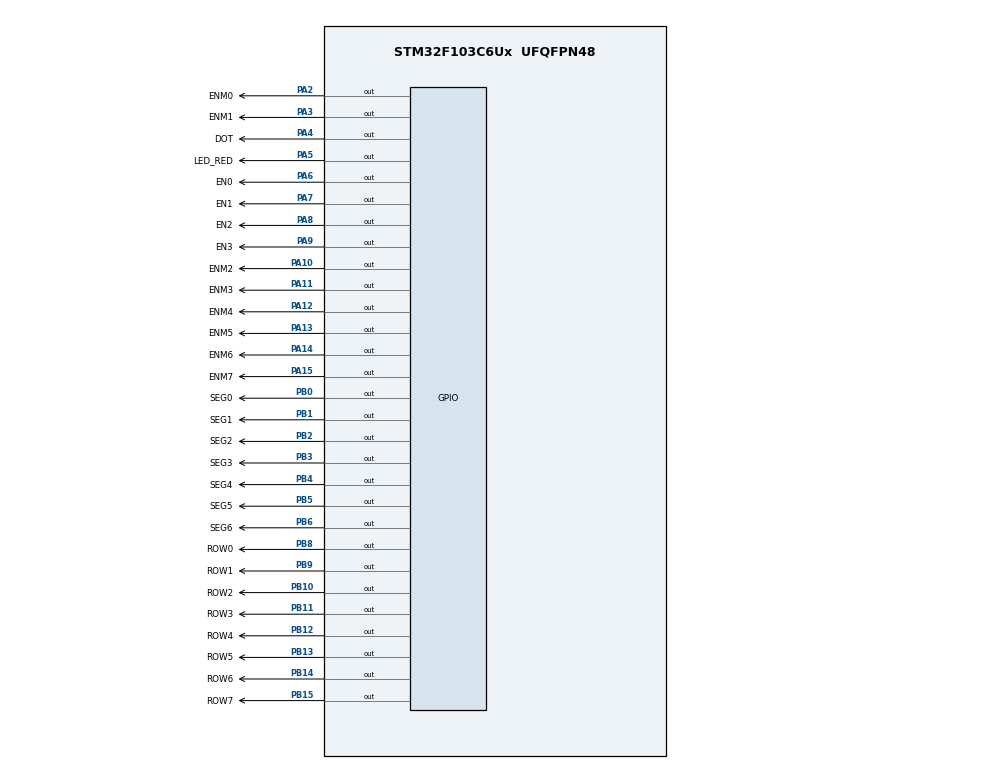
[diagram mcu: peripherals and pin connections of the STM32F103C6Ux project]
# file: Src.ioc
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Mcu.Family=STM32F1
Mcu.Name=STM32F103C6Ux
Mcu.Package=UFQFPN48
NVIC.PriorityGroup=NVIC_PRIORITYGROUP_4
NVIC.TIM2_IRQn=true\:0\:0\:false\:false\:true\:true\:true
PA10.GPIO_Label=ENM2
PA10.Signal=GPIO_Output
PA11.GPIO_Label=ENM3
PA11.Signal=GPIO_Output
PA12.GPIO_Label=ENM4
PA12.Signal=GPIO_Output
PA13.GPIO_Label=ENM5
PA13.Signal=GPIO_Output
PA14.GPIO_Label=ENM6
PA14.Signal=GPIO_Output
PA15.GPIO_Label=ENM7
PA15.Signal=GPIO_Output
PA2.GPIO_Label=ENM0
PA2.Signal=GPIO_Output
PA3.GPIO_Label=ENM1
PA3.Signal=GPIO_Output
PA4.GPIO_Label=DOT
PA4.Signal=GPIO_Output
PA5.GPIO_Label=LED_RED
PA5.Signal=GPIO_Output
PA6.GPIO_Label=EN0
PA6.Signal=GPIO_Output
PA7.GPIO_Label=EN1
PA7.Signal=GPIO_Output
PA8.GPIO_Label=EN2
PA8.Signal=GPIO_Output
PA9.GPIO_Label=EN3
PA9.Signal=GPIO_Output
PB0.GPIO_Label=SEG0
PB0.Signal=GPIO_Output
PB1.GPIO_Label=SEG1
PB1.Signal=GPIO_Output
PB10.GPIO_Label=ROW2
PB10.Signal=GPIO_Output
PB11.GPIO_Label=ROW3
PB11.Signal=GPIO_Output
PB12.GPIO_Label=ROW4
PB12.Signal=GPIO_Output
PB13.GPIO_Label=ROW5
PB13.Signal=GPIO_Output
PB14.GPIO_Label=ROW6
PB14.Signal=GPIO_Output
PB15.GPIO_Label=ROW7
PB15.Signal=GPIO_Output
PB2.GPIO_Label=SEG2
PB2.Signal=GPIO_Output
PB3.GPIO_Label=SEG3
PB3.Signal=GPIO_Output
PB4.GPIO_Label=SEG4
PB4.Signal=GPIO_Output
PB5.GPIO_Label=SEG5
PB5.Signal=GPIO_Output
PB6.GPIO_Label=SEG6
PB6.Signal=GPIO_Output
PB8.GPIO_Label=ROW0
PB8.Signal=GPIO_Output
PB9.GPIO_Label=ROW1
PB9.Signal=GPIO_Output
ProjectManager.HeapSize=0x200
ProjectManager.StackSize=0x400
ProjectManager.TargetToolchain=STM32CubeIDE
RCC.APB1Freq_Value=8000000
RCC.APB2Freq_Value=8000000
TIM2.Period=9
TIM2.Prescaler=7999
VP_SYS_VS_ND.Mode=No_Debug
VP_TIM2_VS_ClockSourceINT.Mode=Internal
board=custom

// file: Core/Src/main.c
/* USER CODE BEGIN Header */
/**
  ******************************************************************************
  * @file           : main.c
  * @brief          : Main program body
  ******************************************************************************
  * @attention
  *
  * <h2><center>&copy; Copyright (c) 2023 STMicroelectronics.
  * All rights reserved.</center></h2>
  *
  * This software component is licensed by ST under BSD 3-Clause license,
  * the "License"; You may not use this file except in compliance with the
  * License. You may obtain a copy of the License at:
  *                        opensource.org/licenses/BSD-3-Clause
  *
  ******************************************************************************
  */
/* USER CODE END Header */
#include "main.h"

/* USER CODE BEGIN Includes */
#include "software_timer.h"
/* USER CODE END Includes */

TIM_HandleTypeDef htim2;

void SystemClock_Config(void);
static void MX_GPIO_Init(void);
static void MX_TIM2_Init(void);

/* USER CODE BEGIN 0 */
void display7SEG(int num){
	  switch(num){
			case 0:
				  HAL_GPIO_WritePin(GPIOB, SEG0_Pin, RESET);
				  HAL_GPIO_WritePin(GPIOB, SEG1_Pin, RESET);
				  HAL_GPIO_WritePin(GPIOB, SEG2_Pin, RESET);
				  HAL_GPIO_WritePin(GPIOB, SEG3_Pin, RESET);
				  HAL_GPIO_WritePin(GPIOB, SEG4_Pin, RESET);
				  HAL_GPIO_WritePin(GPIOB, SEG5_Pin, RESET);
				  HAL_GPIO_WritePin(GPIOB, SEG6_Pin, SET);
				  break;
			case 1:
				  HAL_GPIO_WritePin(GPIOB, SEG0_Pin, SET);
				  HAL_GPIO_WritePin(GPIOB, SEG1_Pin, RESET);
				  HAL_GPIO_WritePin(GPIOB, SEG2_Pin, RESET);
				  HAL_GPIO_WritePin(GPIOB, SEG3_Pin, SET);
				  HAL_GPIO_WritePin(GPIOB, SEG4_Pin, SET);
				  HAL_GPIO_WritePin(GPIOB, SEG5_Pin, SET);
				  HAL_GPIO_WritePin(GPIOB, SEG6_Pin, SET);
				  break;
			case 2:
				  HAL_GPIO_WritePin(GPIOB, SEG0_Pin, RESET);
				  HAL_GPIO_WritePin(GPIOB, SEG1_Pin, RESET);
				  HAL_GPIO_WritePin(GPIOB, SEG2_Pin, SET);
				  HAL_GPIO_WritePin(GPIOB, SEG3_Pin, RESET);
				  HAL_GPIO_WritePin(GPIOB, SEG4_Pin, RESET);
				  HAL_GPIO_WritePin(GPIOB, SEG5_Pin, SET);
				  HAL_GPIO_WritePin(GPIOB, SEG6_Pin, RESET);
				  break;
			case 3:
				  HAL_GPIO_WritePin(GPIOB, SEG0_Pin, RESET);
				  HAL_GPIO_WritePin(GPIOB, SEG1_Pin, RESET);
				  HAL_GPIO_WritePin(GPIOB, SEG2_Pin, RESET);
				  HAL_GPIO_WritePin(GPIOB, SEG3_Pin, RESET);
				  HAL_GPIO_WritePin(GPIOB, SEG4_Pin, SET);
				  HAL_GPIO_WritePin(GPIOB, SEG5_Pin, SET);
				  HAL_GPIO_WritePin(GPIOB, SEG6_Pin, RESET);
				  break;
			case 4:
				  HAL_GPIO_WritePin(GPIOB, SEG0_Pin, SET);
				  HAL_GPIO_WritePin(GPIOB, SEG1_Pin, RESET);
				  HAL_GPIO_WritePin(GPIOB, SEG2_Pin, RESET);
				  HAL_GPIO_WritePin(GPIOB, SEG3_Pin, SET);
				  HAL_GPIO_WritePin(GPIOB, SEG4_Pin, SET);
				  HAL_GPIO_WritePin(GPIOB, SEG5_Pin, RESET);
				  HAL_GPIO_WritePin(GPIOB, SEG6_Pin, RESET);
				  break;
			case 5:
				  HAL_GPIO_WritePin(GPIOB, SEG0_Pin, RESET);
				  HAL_GPIO_WritePin(GPIOB, SEG1_Pin, SET);
				  HAL_GPIO_WritePin(GPIOB, SEG2_Pin, RESET);
				  HAL_GPIO_WritePin(GPIOB, SEG3_Pin, RESET);
				  HAL_GPIO_WritePin(GPIOB, SEG4_Pin, SET);
				  HAL_GPIO_WritePin(GPIOB, SEG5_Pin, RESET);
				  HAL_GPIO_WritePin(GPIOB, SEG6_Pin, RESET);
				  break;
			case 6:
				  HAL_GPIO_WritePin(GPIOB, SEG0_Pin, RESET);
				  HAL_GPIO_WritePin(GPIOB, SEG1_Pin, SET);
				  HAL_GPIO_WritePin(GPIOB, SEG2_Pin, RESET);
				  HAL_GPIO_WritePin(GPIOB, SEG3_Pin, RESET);
				  HAL_GPIO_WritePin(GPIOB, SEG4_Pin, RESET);
				  HAL_GPIO_WritePin(GPIOB, SEG5_Pin, RESET);
				  HAL_GPIO_WritePin(GPIOB, SEG6_Pin, RESET);
				  break;
			case 7:
				  HAL_GPIO_WritePin(GPIOB, SEG0_Pin, RESET);
				  HAL_GPIO_WritePin(GPIOB, SEG1_Pin, RESET);
				  HAL_GPIO_WritePin(GPIOB, SEG2_Pin, RESET);
				  HAL_GPIO_WritePin(GPIOB, SEG3_Pin, SET);
				  HAL_GPIO_WritePin(GPIOB, SEG4_Pin, SET);
				  HAL_GPIO_WritePin(GPIOB, SEG5_Pin, SET);
				  HAL_GPIO_WritePin(GPIOB, SEG6_Pin, SET);
				  break;
			case 8:
				  HAL_GPIO_WritePin(GPIOB, SEG0_Pin, RESET);
				  HAL_GPIO_WritePin(GPIOB, SEG1_Pin, RESET);
				  HAL_GPIO_WritePin(GPIOB, SEG2_Pin, RESET);
				  HAL_GPIO_WritePin(GPIOB, SEG3_Pin, RESET);
				  HAL_GPIO_WritePin(GPIOB, SEG4_Pin, RESET);
				  HAL_GPIO_WritePin(GPIOB, SEG5_Pin, RESET);
				  HAL_GPIO_WritePin(GPIOB, SEG6_Pin, RESET);
				  break;
			case 9:
				  HAL_GPIO_WritePin(GPIOB, SEG0_Pin, RESET);
				  HAL_GPIO_WritePin(GPIOB, SEG1_Pin, RESET);
				  HAL_GPIO_WritePin(GPIOB, SEG2_Pin, RESET);
				  HAL_GPIO_WritePin(GPIOB, SEG3_Pin, RESET);
				  HAL_GPIO_WritePin(GPIOB, SEG4_Pin, SET);
				  HAL_GPIO_WritePin(GPIOB, SEG5_Pin, RESET);
				  HAL_GPIO_WritePin(GPIOB, SEG6_Pin, RESET);
				  break;

	  }
}
/* USER CODE END 0 */

int main(void)
{
  /* USER CODE BEGIN 1 */
	  setTimer(100, 0);
	  setTimer(50, 1);
  /* USER CODE END 1 */

  /* MCU Configuration--------------------------------------------------------*/

  /* Reset of all peripherals, Initializes the Flash interface and the Systick. */
  HAL_Init();

  /* Configure the system clock */
  SystemClock_Config();

  /* Initialize all configured peripherals */
  MX_GPIO_Init();
  MX_TIM2_Init();
  /* USER CODE BEGIN 2 */
  HAL_TIM_Base_Start_IT(&htim2);
  int state = 0;
  /* USER CODE END 2 */

  /* Infinite loop */
  /* USER CODE BEGIN WHILE */
  while (1)
  {
	  if(timer_flag[0] == 1){
		  HAL_GPIO_TogglePin(GPIOA, LED_RED_Pin);
		  setTimer(100, 0);
	  }
	  if(timer_flag[1] == 1){
		  switch(state){
				case 0:
					display7SEG(1);
					HAL_GPIO_WritePin(GPIOA, EN0_Pin, RESET);
					HAL_GPIO_WritePin(GPIOA, EN1_Pin, SET);
					state = 1;
					break;
				case 1:
					display7SEG(2);
					HAL_GPIO_WritePin(GPIOA, EN1_Pin, RESET);
					HAL_GPIO_WritePin(GPIOA, EN0_Pin, SET);
					state = 0;
					break;
			}
		    setTimer(50, 1);
	  }
    /* USER CODE END WHILE */

  }
}

void SystemClock_Config(void)
{
  RCC_OscInitTypeDef RCC_OscInitStruct = {0};
  RCC_ClkInitTypeDef RCC_ClkInitStruct = {0};

  /** Initializes the RCC Oscillators according to the specified parameters
  * in the RCC_OscInitTypeDef structure.
  */
  RCC_OscInitStruct.OscillatorType = RCC_OSCILLATORTYPE_HSI;
  RCC_OscInitStruct.HSIState = RCC_HSI_ON;
  RCC_OscInitStruct.HSICalibrationValue = RCC_HSICALIBRATION_DEFAULT;
  RCC_OscInitStruct.PLL.PLLState = RCC_PLL_NONE;
  if (HAL_RCC_OscConfig(&RCC_OscInitStruct) != HAL_OK)
  {
    Error_Handler();
  }
  /** Initializes the CPU, AHB and APB buses clocks
  */
  RCC_ClkInitStruct.ClockType = RCC_CLOCKTYPE_HCLK|RCC_CLOCKTYPE_SYSCLK
                              |RCC_CLOCKTYPE_PCLK1|RCC_CLOCKTYPE_PCLK2;
  RCC_ClkInitStruct.SYSCLKSource = RCC_SYSCLKSOURCE_HSI;
  RCC_ClkInitStruct.AHBCLKDivider = RCC_SYSCLK_DIV1;
  RCC_ClkInitStruct.APB1CLKDivider = RCC_HCLK_DIV1;
  RCC_ClkInitStruct.APB2CLKDivider = RCC_HCLK_DIV1;

  if (HAL_RCC_ClockConfig(&RCC_ClkInitStruct, FLASH_LATENCY_0) != HAL_OK)
  {
    Error_Handler();
  }
}

static void MX_TIM2_Init(void)
{

  TIM_ClockConfigTypeDef sClockSourceConfig = {0};
  TIM_MasterConfigTypeDef sMasterConfig = {0};

  htim2.Instance = TIM2;
  htim2.Init.Prescaler = 7999;
  htim2.Init.CounterMode = TIM_COUNTERMODE_UP;
  htim2.Init.Period = 9;
  htim2.Init.ClockDivision = TIM_CLOCKDIVISION_DIV1;
  htim2.Init.AutoReloadPreload = TIM_AUTORELOAD_PRELOAD_DISABLE;
  if (HAL_TIM_Base_Init(&htim2) != HAL_OK)
  {
    Error_Handler();
  }
  sClockSourceConfig.ClockSource = TIM_CLOCKSOURCE_INTERNAL;
  if (HAL_TIM_ConfigClockSource(&htim2, &sClockSourceConfig) != HAL_OK)
  {
    Error_Handler();
  }
  sMasterConfig.MasterOutputTrigger = TIM_TRGO_RESET;
  sMasterConfig.MasterSlaveMode = TIM_MASTERSLAVEMODE_DISABLE;
  if (HAL_TIMEx_MasterConfigSynchronization(&htim2, &sMasterConfig) != HAL_OK)
  {
    Error_Handler();
  }

}

static void MX_GPIO_Init(void)
{
  GPIO_InitTypeDef GPIO_InitStruct = {0};

  /* GPIO Ports Clock Enable */
  __HAL_RCC_GPIOA_CLK_ENABLE();
  __HAL_RCC_GPIOB_CLK_ENABLE();

  /*Configure GPIO pin Output Level */
  HAL_GPIO_WritePin(GPIOA, LED_RED_Pin|EN0_Pin|EN1_Pin, GPIO_PIN_RESET);

  /*Configure GPIO pin Output Level */
  HAL_GPIO_WritePin(GPIOB, SEG0_Pin|SEG1_Pin|SEG2_Pin|SEG3_Pin
                          |SEG4_Pin|SEG5_Pin|SEG6_Pin, GPIO_PIN_RESET);

  /*Configure GPIO pins : LED_RED_Pin EN0_Pin EN1_Pin */
  GPIO_InitStruct.Pin = LED_RED_Pin|EN0_Pin|EN1_Pin;
  GPIO_InitStruct.Mode = GPIO_MODE_OUTPUT_PP;
  GPIO_InitStruct.Pull = GPIO_NOPULL;
  GPIO_InitStruct.Speed = GPIO_SPEED_FREQ_LOW;
  HAL_GPIO_Init(GPIOA, &GPIO_InitStruct);

  /*Configure GPIO pins : SEG0_Pin SEG1_Pin SEG2_Pin SEG3_Pin
                           SEG4_Pin SEG5_Pin SEG6_Pin */
  GPIO_InitStruct.Pin = SEG0_Pin|SEG1_Pin|SEG2_Pin|SEG3_Pin
                          |SEG4_Pin|SEG5_Pin|SEG6_Pin;
  GPIO_InitStruct.Mode = GPIO_MODE_OUTPUT_PP;
  GPIO_InitStruct.Pull = GPIO_NOPULL;
  GPIO_InitStruct.Speed = GPIO_SPEED_FREQ_LOW;
  HAL_GPIO_Init(GPIOB, &GPIO_InitStruct);

}

/* USER CODE BEGIN 4 */
void HAL_TIM_PeriodElapsedCallback(TIM_HandleTypeDef *htim){
	timerRun(0); // LED_RED
	timerRun(1); // 7-segment
};
/* USER CODE END 4 */

void Error_Handler(void)
{
  __disable_irq();
  while (1)
  {
  }
}

/************************ (C) COPYRIGHT STMicroelectronics *****END OF FILE****/
